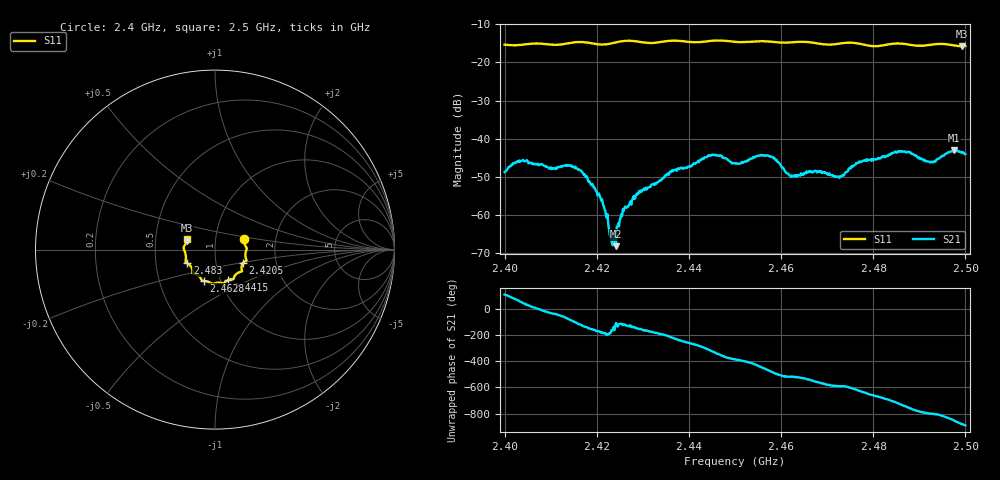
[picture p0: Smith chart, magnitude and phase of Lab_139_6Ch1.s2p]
# Hz S RI R 50
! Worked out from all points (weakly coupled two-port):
!   601 points, 2.4 GHz to 2.5 GHz, reference 50 ohm
!   highest |S21| = -43.01 dB at 2.4975 GHz (marker M1); lowest = -68.3 dB at 2.4242 GHz (marker M2)
!   lowest |S11| = -15.7 dB at 2.4993 GHz (marker M3), VSWR 1.39, Z = 36.4 + j3.68 ohm
!   |S11| at or under -10 dB: start of sweep to end of sweep
!   S12 and S22 are empty: the file has one direction only
!   S11 on the Smith chart (normalised r, x): 2.4 GHz: 1.38, +0.16; 2.4205 GHz: 1.35, -0.21; 2.4415 GHz: 1.09, -0.38; 2.4628 GHz: 0.83, -0.30; 2.483 GHz: 0.73, -0.11; 2.5 GHz: 0.73, +0.09
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2.4e9  0.1624 0.0564  -0.00134 0.00338  0 0  0 0
2.404333e9  0.1719 0.0171  0.00376 0.00334  0 0  0 0
2.416667e9  0.1752 -0.062  -0.00202 -0.00313  0 0  0 0
2.4205e9  0.1553 -0.0759  -0.00187 -0.000327  0 0  0 0
2.423333e9  0.1476 -0.1017  -0.000394 -0.000121  0 0  0 0
2.424167e9  0.1483 -0.109  -0.00011 -0.00037  0 0  0 0
2.426167e9  0.151 -0.1195  -0.000618 -0.00112  0 0  0 0
2.433333e9  0.1084 -0.1479  -0.00267 0.000241  0 0  0 0
2.4415e9  0.0734 -0.1692  0.000286 0.00472  0 0  0 0
2.4455e9  0.0501 -0.1873  0.00541 0.0029  0 0  0 0
2.45e9  0.0295 -0.1847  0.00426 -0.00202  0 0  0 0
2.457167e9  -0.019 -0.1884  -0.00191 -0.00572  0 0  0 0
2.462833e9  -0.0624 -0.1745  -0.00305 -0.00107  0 0  0 0
2.466667e9  -0.0754 -0.1672  -0.00355 0.000492  0 0  0 0
2.472667e9  -0.1151 -0.1348  -0.00189 0.00237  0 0  0 0
2.483e9  -0.1538 -0.0766  0.00521 0.00282  0 0  0 0
2.483333e9  -0.156 -0.0753  0.00552 0.00266  0 0  0 0
2.4875e9  -0.1631 -0.0566  0.00562 -0.00356  0 0  0 0
2.492667e9  -0.1718 -0.00194  0.000669 -0.00483  0 0  0 0
2.4975e9  -0.1651 0.0289  -0.00477 -0.00523  0 0  0 0
2.499333e9  -0.1558 0.0493  -0.0062 -0.00193  0 0  0 0
2.5e9  -0.1538 0.0578  -0.00619 -0.000919  0 0  0 0
